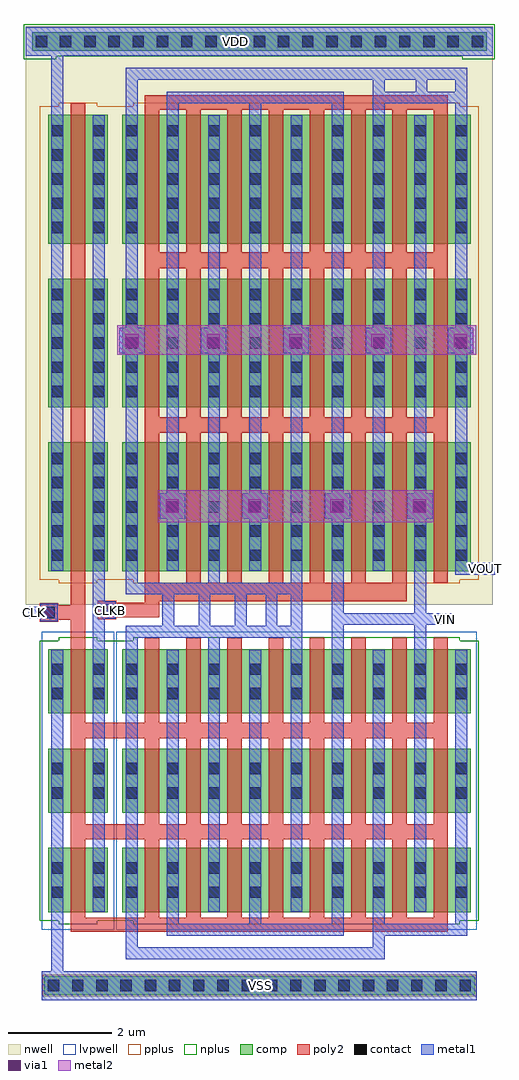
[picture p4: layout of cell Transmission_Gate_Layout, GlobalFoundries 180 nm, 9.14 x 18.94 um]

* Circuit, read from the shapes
.subckt Transmission_Gate_Layout CLK CLKB VDD VIN VOUT VSS
XM1 CLKB CLK VSS VSS nfet_03v3 w=1.25u l=0.28u m=3
XM2 VIN CLK VOUT VSS nfet_03v3 w=1.25u l=0.28u m=24
XM3 CLKB CLK VDD VDD pfet_03v3 w=2.5u l=0.28u m=3
XM4 VIN CLKB VOUT VDD pfet_03v3 w=2.5u l=0.28u m=24
.ends

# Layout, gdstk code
import gdstk
lib = gdstk.Library(unit=1e-6, precision=1e-09)
def R(c, l, rs):  # rectangles x0, y0, x1, y1
    for r in rs: c.add(gdstk.rectangle(r[:2], r[2:], *l))
def A(c, l, x, y, w, h, nx, ny, dx, dy):  # array of equal rectangles
    R(c, l, [(x+i*dx, y+j*dy, x+i*dx+w, y+j*dy+h) for i in range(nx) for j in range(ny)])
nwell = (21, 0)
comp = (22, 0)
poly2 = (30, 0)
pplus = (31, 0)
nplus = (32, 0)
contact = (33, 0)
metal1 = (34, 0)
via1 = (35, 0)
metal2 = (36, 0)
lvpwell = (204, 0)

pmos_3p3_metukr = lib.new_cell('pmos_3p3_METUKR')
R(pmos_3p3_metukr, nwell, [(-1.01,-5.08,1.01,5.08)])
A(pmos_3p3_metukr, comp, -0.58, -4.43, 1.16, 2.5, 1, 3, 0, 3.18)
A(pmos_3p3_metukr, poly2, -0.14, -4.65, 0.28, 2.94, 1, 3, 0, 3.18)
R(pmos_3p3_metukr, pplus, [(-0.37,-4.66,0.37,-4.59), (-0.74,-4.59,0.74,4.59), (-0.37,4.59,0.37,4.66)])
A(pmos_3p3_metukr, contact, -0.51, -4.23, 0.22, 0.22, 1, 5, 0, 0.47)
A(pmos_3p3_metukr, contact, 0.29, -4.23, 0.22, 0.22, 1, 5, 0, 0.47)
A(pmos_3p3_metukr, contact, -0.51, -1.05, 0.22, 0.22, 1, 5, 0, 0.47)
A(pmos_3p3_metukr, contact, 0.29, -1.05, 0.22, 0.22, 1, 5, 0, 0.47)
A(pmos_3p3_metukr, contact, -0.51, 2.13, 0.22, 0.22, 1, 5, 0, 0.47)
A(pmos_3p3_metukr, contact, 0.29, 2.13, 0.22, 0.22, 1, 5, 0, 0.47)
A(pmos_3p3_metukr, metal1, -0.515, -4.42, 0.23, 2.48, 1, 3, 0, 3.18)
A(pmos_3p3_metukr, metal1, 0.285, -4.42, 0.23, 2.48, 1, 3, 0, 3.18)

pmos_3p3_m6sukr = lib.new_cell('pmos_3p3_M6SUKR')
R(pmos_3p3_m6sukr, nwell, [(-3.81,-5.08,3.81,5.08)])
A(pmos_3p3_m6sukr, comp, -3.38, -4.43, 6.76, 2.5, 1, 3, 0, 3.18)
A(pmos_3p3_m6sukr, poly2, -2.94, -4.65, 0.28, 2.94, 8, 3, 0.8, 3.18)
R(pmos_3p3_m6sukr, pplus, [(-3.17,-4.66,3.17,-4.59), (-3.54,-4.59,3.54,4.59), (-3.17,4.59,3.17,4.66)])
A(pmos_3p3_m6sukr, contact, -3.31, -4.23, 0.22, 0.22, 9, 5, 0.8, 0.47)
A(pmos_3p3_m6sukr, contact, -3.31, -1.05, 0.22, 0.22, 9, 5, 0.8, 0.47)
A(pmos_3p3_m6sukr, contact, -3.31, 2.13, 0.22, 0.22, 9, 5, 0.8, 0.47)
A(pmos_3p3_m6sukr, metal1, -3.315, -4.42, 0.23, 2.48, 9, 3, 0.8, 3.18)

nmos_3p3_y4jrt2 = lib.new_cell('nmos_3p3_Y4JRT2')
A(nmos_3p3_y4jrt2, comp, -0.58, -2.555, 1.16, 1.25, 1, 3, 0, 1.93)
A(nmos_3p3_y4jrt2, poly2, -0.14, -2.775, 0.28, 1.69, 1, 3, 0, 1.93)
R(nmos_3p3_y4jrt2, nplus, [(-0.37,-2.785,0.37,-2.715), (-0.74,-2.715,0.74,2.715), (-0.37,2.715,0.37,2.785)])
R(nmos_3p3_y4jrt2, contact, [(-0.51,-2.275,-0.29,-2.055), (0.29,-2.275,0.51,-2.055), (-0.51,-1.805,-0.29,-1.585), (0.29,-1.805,0.51,-1.585), (-0.51,-0.345,-0.29,-0.125), (0.29,-0.345,0.51,-0.125), (-0.51,0.125,-0.29,0.345), (0.29,0.125,0.51,0.345), (-0.51,1.585,-0.29,1.805), (0.29,1.585,0.51,1.805), (-0.51,2.055,-0.29,2.275), (0.29,2.055,0.51,2.275)])
A(nmos_3p3_y4jrt2, metal1, -0.515, -2.545, 0.23, 1.23, 1, 3, 0, 1.93)
A(nmos_3p3_y4jrt2, metal1, 0.285, -2.545, 0.23, 1.23, 1, 3, 0, 1.93)
R(nmos_3p3_y4jrt2, lvpwell, [(-0.7,-2.895,0.7,2.895)])

nmos_3p3_rzhrt2 = lib.new_cell('nmos_3p3_RZHRT2')
A(nmos_3p3_rzhrt2, comp, -3.38, -2.555, 6.76, 1.25, 1, 3, 0, 1.93)
A(nmos_3p3_rzhrt2, poly2, -2.94, -2.775, 0.28, 1.69, 8, 3, 0.8, 1.93)
R(nmos_3p3_rzhrt2, nplus, [(-3.17,-2.785,3.17,-2.715), (-3.54,-2.715,3.54,2.715), (-3.17,2.715,3.17,2.785)])
A(nmos_3p3_rzhrt2, contact, -3.31, -2.275, 0.22, 0.22, 9, 2, 0.8, 0.47)
A(nmos_3p3_rzhrt2, contact, -3.31, -0.345, 0.22, 0.22, 9, 2, 0.8, 0.47)
A(nmos_3p3_rzhrt2, contact, -3.31, 1.585, 0.22, 0.22, 9, 2, 0.8, 0.47)
A(nmos_3p3_rzhrt2, metal1, -3.315, -2.545, 0.23, 1.23, 9, 3, 0.8, 1.93)
R(nmos_3p3_rzhrt2, lvpwell, [(-3.5,-2.895,3.5,2.895)])

transmission_gate_layout = lib.new_cell('Transmission_Gate_Layout')
R(transmission_gate_layout, nwell, [(-1.75,16.47,7.31,17.54)])
R(transmission_gate_layout, comp, [(-1.395,-1.26,6.955,-0.9), (-1.63,17.06,7.19,17.42)])
A(transmission_gate_layout, poly2, 0.56, 1.56, 0.28, 0.195, 8, 1, 0.8, 0)
A(transmission_gate_layout, poly2, 0.56, 2.055, 0.28, 1.665, 8, 1, 0.8, 0)
A(transmission_gate_layout, poly2, 0.56, 4.02, 0.28, 0.18, 8, 1, 0.8, 0)
A(transmission_gate_layout, poly2, 0.56, 9.31, 0.28, 0.335, 8, 1, 0.8, 0)
A(transmission_gate_layout, poly2, 0.56, 9.95, 0.28, 2.895, 8, 1, 0.8, 0)
A(transmission_gate_layout, poly2, 0.56, 13.15, 0.28, 0.05, 8, 1, 0.8, 0)
R(transmission_gate_layout, poly2, [(-0.88,-0.04,6.44,0.24), (-0.88,1.59,-0.6,1.755), (-0.88,1.755,6.44,2.055), (-0.88,2.055,-0.6,3.72), (-0.88,3.72,6.44,4.02), (-0.88,4.02,-0.6,6.02), (-1.48,5.98,-1.12,6.02), (-1.48,6.02,-0.6,6.3), (-0.36,6.03,0,6.07), (-0.36,6.07,0.84,6.35), (-1.48,6.3,-1.12,6.34), (-0.88,6.3,-0.6,6.84), (-0.36,6.35,0,6.39), (0.56,6.35,0.84,6.38), (0.56,6.38,5.64,6.74), (0.56,6.74,0.84,6.84), (-0.88,9.28,-0.6,13.17), (0.56,9.645,6.44,9.95), (0.56,12.845,6.44,13.15), (0.56,15.92,6.44,16.2)])
R(transmission_gate_layout, pplus, [(-1.425,-1.29,6.985,-0.87)])
R(transmission_gate_layout, nplus, [(-1.79,16.9,-1.16,16.95), (6.72,16.9,7.35,16.95), (-1.79,16.95,7.35,17.58)])
A(transmission_gate_layout, contact, -1.325, -1.19, 0.22, 0.22, 18, 1, 0.47, 0)
A(transmission_gate_layout, contact, -1.56, 17.13, 0.22, 0.22, 19, 1, 0.47, 0)
R(transmission_gate_layout, contact, [(-1.41,6.05,-1.19,6.27), (-0.29,6.1,-0.07,6.32)])
A(transmission_gate_layout, metal1, 0.185, 6.74, 0.23, 4.455, 3, 1, 1.6, 0)
A(transmission_gate_layout, metal1, 0.845, 7.98, 0.495, 0.495, 4, 1, 1.6, 0)
A(transmission_gate_layout, metal1, 1.64, 11.195, 0.495, 0.495, 4, 1, 1.6, 0)
R(transmission_gate_layout, metal1, [(-1.44,-1.36,7,-0.8), (-1.255,-0.8,-1.025,4.35), (0.185,-0.57,5.215,-0.34), (0.185,-0.34,0.415,0.49), (4.985,-0.34,5.215,-0.11), (0.985,-0.11,4.415,0.12), (4.985,-0.11,6.815,0.12), (0.985,0.12,1.215,4.265), (2.585,0.12,2.815,4.27), (4.185,0.12,4.415,5.92), (4.985,0.12,5.215,4.265), (6.585,0.12,6.815,4.27), (3.385,1.5,3.615,5.67), (1.785,1.515,2.015,5.67), (-0.455,1.525,-0.225,6.04), (0.185,1.525,0.415,5.67), (5.785,1.525,6.015,5.92), (0.185,5.67,3.615,5.9), (0.9,5.9,1.13,6.51), (1.6,5.9,1.83,6.51), (2.305,5.9,2.535,6.51), (2.9,5.9,3.13,6.51), (3.385,5.9,3.615,6.51), (4.185,5.92,6.53,6.15), (-1.47,5.99,-1.13,6.045), (-0.455,6.04,-0.01,6.38), (-1.695,6.045,-1.13,6.275), (4.185,6.15,4.415,7.27), (5.785,6.15,6.015,7.98), (-1.47,6.275,-1.13,6.33), (-0.455,6.38,-0.225,13.645), (0.185,6.51,3.615,6.74), (6.585,6.895,7.355,7.125), (6.585,7.125,6.815,11.195), (5.785,8.475,6.015,13.6), (-1.255,9.155,-1.025,16.96), (2.585,9.245,2.815,16.04), (4.185,9.245,4.415,16.04), (0.985,9.25,1.215,16.04), (4.985,9.25,5.215,11.195), (0.065,11.195,0.56,11.69), (0.185,11.69,0.415,16.5), (1.785,11.69,2.015,13.54), (3.385,11.69,3.615,13.595), (4.985,11.69,5.215,16.04), (6.585,11.69,6.815,16.04), (0.985,16.04,4.415,16.27), (4.985,16.04,6.815,16.27), (4.985,16.27,5.215,16.5), (5.81,16.27,6.04,16.5), (6.585,16.27,6.815,16.5), (0.185,16.5,6.815,16.73), (-1.75,16.96,7.31,17.52)])
A(transmission_gate_layout, via1, 0.96, 8.095, 0.26, 0.26, 4, 1, 1.6, 0)
A(transmission_gate_layout, via1, 1.755, 11.31, 0.26, 0.26, 4, 1, 1.6, 0)
R(transmission_gate_layout, via1, [(0.18,11.31,0.44,11.57)])
R(transmission_gate_layout, metal2, [(0.81,7.91,6.16,8.535), (0.025,11.16,6.985,11.73)])
transmission_gate_layout.add(gdstk.Reference(pmos_3p3_metukr, (-0.74,11.39)))
transmission_gate_layout.add(gdstk.Reference(pmos_3p3_m6sukr, (3.5,11.39)))
transmission_gate_layout.add(gdstk.Reference(nmos_3p3_y4jrt2, (-0.74,2.895)))
transmission_gate_layout.add(gdstk.Reference(nmos_3p3_rzhrt2, (3.5,2.895)))
transmission_gate_layout.add(gdstk.Label('VSS', (2.805,-1.08), layer=34, texttype=10))
transmission_gate_layout.add(gdstk.Label('VDD', (2.31,17.24), layer=22, texttype=0))
transmission_gate_layout.add(gdstk.Label('CLKB', (-0.11,6.195), layer=30, texttype=10))
transmission_gate_layout.add(gdstk.Label('VIN', (6.39,6.02), layer=34, texttype=10))
transmission_gate_layout.add(gdstk.Label('VOUT', (7.165,7.02), layer=34, texttype=10))
transmission_gate_layout.add(gdstk.Label('CLK', (-1.59,6.16), layer=34, texttype=10))

lib.write_gds('Transmission_Gate_Layout.gds')
